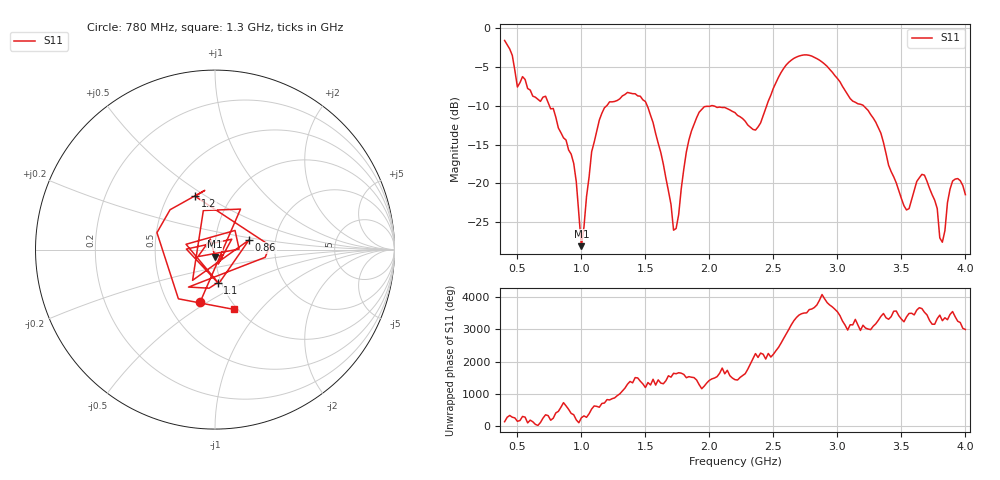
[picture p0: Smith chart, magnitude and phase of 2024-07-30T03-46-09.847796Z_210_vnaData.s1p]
!Created with skrf (http://scikit-rf.org).
# Hz S RI R 50.0
!freq ReS11 ImS11
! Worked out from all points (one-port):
!   181 points, 400 MHz to 4 GHz, reference 50 ohm
!   lowest |S11| = -28.1 dB at 1 GHz (marker M1), VSWR 1.08, Z = 49.8 - j3.94 ohm
!   |S11| at or under -10 dB: 749.9 MHz to 1.198 GHz (448.6 MHz wide, 46.1 % of centre); 1.514 GHz to 2.016 GHz (502.3 MHz wide, 28.5 % of centre); 3.204 GHz to end of sweep (the widest 3 of 4)
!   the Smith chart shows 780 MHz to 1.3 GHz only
!   S11 on the Smith chart (normalised r, x): 780 MHz: 0.72, -0.46; 860 MHz: 1.46, +0.16; 1.1 GHz: 0.96, -0.37; 1.2 GHz: 0.68, +0.45; 1.3 GHz: 0.97, -0.73
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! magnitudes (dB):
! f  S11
! 400 MHz  -1.6
! 500 MHz  -7.6
! 540 MHz  -6.3
! 780 MHz  -10.4
! 860 MHz  -14.1
! 940 MHz  -17.4
! 1 GHz  -28.1
! 1.1 GHz  -14.7
! 1.2 GHz  -10.0
! 1.3 GHz  -9.1
! 1.5 GHz  -9.5
! 1.62 GHz  -16.0
! 1.72 GHz  -26.0
! 1.76 GHz  -24.0
! 1.82 GHz  -15.9
! 1.92 GHz  -10.8
! 2.2 GHz  -10.9
! 2.36 GHz  -13.1
! 2.66 GHz  -3.9
! 2.88 GHz  -4.4
! 3.1 GHz  -9.1
! 3.3 GHz  -12.1
! 3.56 GHz  -23.2
! 3.68 GHz  -18.9
! 3.78 GHz  -23.2
! 3.82 GHz  -27.6
! 3.9 GHz  -19.7
! 4 GHz  -21.4
